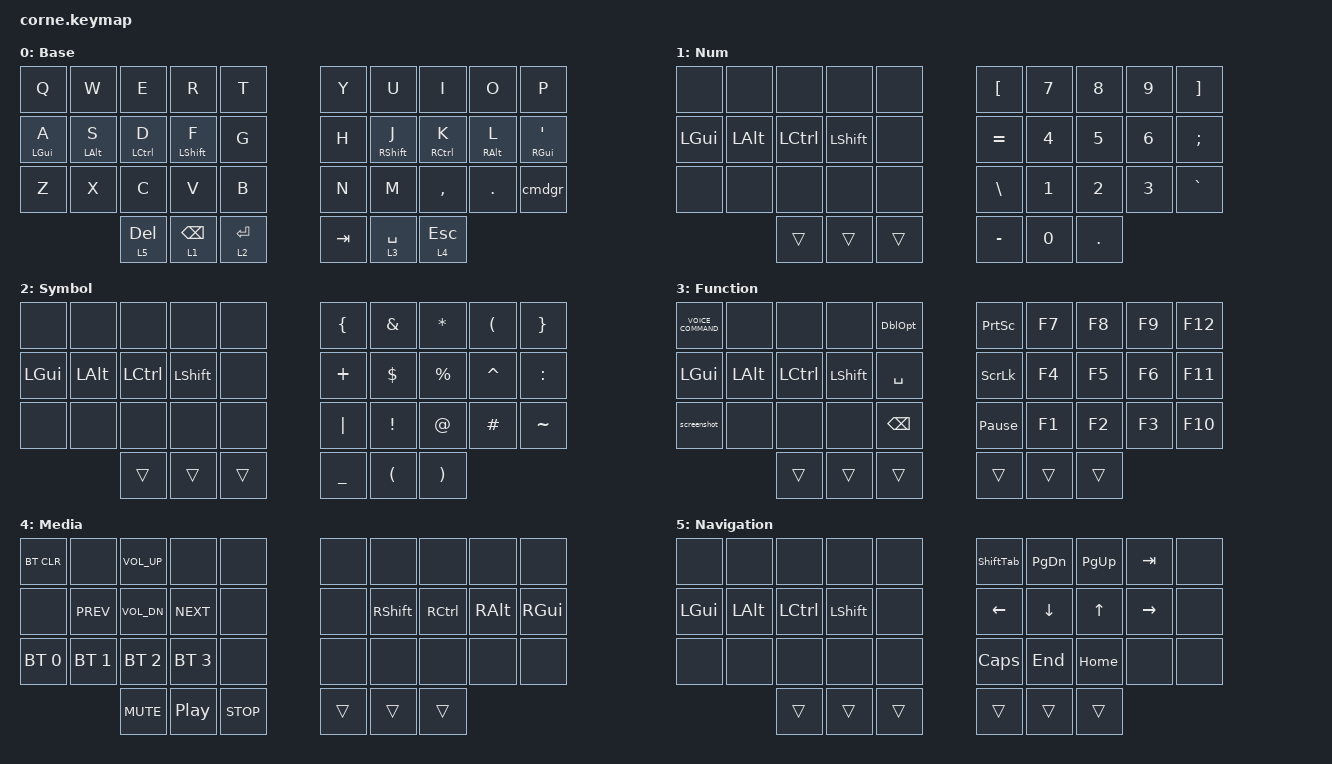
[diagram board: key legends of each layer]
/*
 * Copyright (c) 2020 The ZMK Contributors
 *
 * SPDX-License-Identifier: MIT
 */
#include <behaviors.dtsi>
#include <dt-bindings/zmk/bt.h>
#include <dt-bindings/zmk/keys.h>


&lt {
    tapping-term-ms = <180>;
};

/ {
    chosen { zmk,matrix_transform = &five_column_transform; };

    behaviors {
        LShiftMT: LShiftMT {
            compatible = "zmk,behavior-hold-tap";
            label = "LShiftMT";
            bindings = <&kp>, <&kp>;
            #binding-cells = <2>;
            tapping-term-ms = <175>;
            quick-tap-ms = <175>;
            require-prior-idle-ms = <125>;
            flavor = "balanced";
            hold-trigger-key-positions = <5 15 25 33 34 35 27 26 6 7 8 9 16 17 18 19 29 28 30 31 32>;
            hold-trigger-on-release;
        };

        RShiftMT: RShiftMT {
            compatible = "zmk,behavior-hold-tap";
            label = "RShiftMT";
            bindings = <&kp>, <&kp>;
            #binding-cells = <2>;
            tapping-term-ms = <175>;
            quick-tap-ms = <175>;
            require-prior-idle-ms = <125>;
            flavor = "balanced";
            hold-trigger-key-positions = <0 1 2 3 4 10 11 12 13 14 20 21 22 23 24 30 31 32 33 34 35>;
            hold-trigger-on-release;
        };

        LHRM: LHRM {
            compatible = "zmk,behavior-hold-tap";
            label = "LHRM";
            bindings = <&kp>, <&kp>;
            #binding-cells = <2>;
            tapping-term-ms = <280>;
            quick-tap-ms = <175>;
            require-prior-idle-ms = <150>;
            flavor = "tap-preferred";
            hold-trigger-key-positions = <5 15 25 33 34 35 27 26 6 7 8 9 16 17 18 19 29 28 30 31 32>;
            hold-trigger-on-release;
        };

        RHRM: RHRM {
            compatible = "zmk,behavior-hold-tap";
            label = "RHRM";
            bindings = <&kp>, <&kp>;
            #binding-cells = <2>;
            tapping-term-ms = <280>;
            quick-tap-ms = <175>;
            require-prior-idle-ms = <150>;
            flavor = "tap-preferred";
            hold-trigger-key-positions = <0 1 2 3 4 10 11 12 13 14 20 21 22 23 24 30 31 32 33 34 35>;
            hold-trigger-on-release;
        };

        cmdgr: osx_window_cycle {
            compatible = "zmk,behavior-mod-morph";
            #binding-cells = <0>;
            bindings = <&kp FSLH>, <&kp GRAVE>;
            mods = <(MOD_LGUI)>;
            keep-mods = <(MOD_LGUI)>;
        };

    };

    combos { compatible = "zmk,combos"; };

    macros {
        ShiftTab: ShiftTab {
            compatible = "zmk,behavior-macro";
            #binding-cells = <0>;
            bindings =
                <&macro_press>,
                <&kp LSHFT>,
                <&macro_tap>,
                <&kp TAB>,
                <&macro_release>,
                <&kp LSHFT>;

            label = "SHIFTTAB";
        };

        DblOpt: DblOpt {
            compatible = "zmk,behavior-macro";
            #binding-cells = <0>;
            bindings =
                <&kp LALT>,
                <&kp LALT>;

            label = "DBLOPT";
        };

        screenshot: screenshot {
            compatible = "zmk,behavior-macro";
            #binding-cells = <0>;
            bindings =
                <&macro_press>,
                <&kp LGUI &kp LSHFT>,
                <&macro_tap>,
                <&kp N4>,
                <&macro_release>,
                <&kp LGUI &kp LSHFT>;

            label = "SCREENSHOT";
        };
    };

    keymap {
        compatible = "zmk,keymap";

        Base {
            bindings = <
&kp Q         &kp W         &kp E          &kp R            &kp T          &kp Y    &kp U          &kp I          &kp O         &kp P
&LHRM LGUI A  &LHRM LALT S  &LHRM LCTRL D  &LHRM LSHFT F    &kp G          &kp H    &RShiftMT RSHFT J  &RHRM RCTRL K  &RHRM RALT L  &RHRM RGUI SQT
&kp Z         &kp X         &kp C          &kp V            &kp B          &kp N    &kp M          &kp COMMA      &kp DOT       &cmdgr
                            &lt 5 DELETE   &lt 1 BACKSPACE  &lt 2 ENTER    &kp TAB  &lt 3 SPACE    &lt 4 ESCAPE
            >;
        };

        Num {
            bindings = <
&none     &none     &none      &none      &none     &kp LEFT_BRACKET  &kp N7  &kp N8   &kp N9  &kp RBKT
&kp LGUI  &kp LALT  &kp LCTRL  &kp LSHFT  &none     &kp EQUAL         &kp N4  &kp N5   &kp N6  &kp SEMI
&none     &none     &none      &none      &none     &kp BSLH          &kp N1  &kp N2   &kp N3  &kp GRAVE
                    &trans     &trans     &trans    &kp MINUS         &kp N0  &kp DOT
            >;
        };

        Symbol {
            bindings = <
&none     &none     &none      &none      &none     &kp LEFT_BRACE  &kp AMPERSAND         &kp ASTERISK           &kp LEFT_PARENTHESIS  &kp RIGHT_BRACE
&kp LGUI  &kp LALT  &kp LCTRL  &kp LSHFT  &none     &kp PLUS        &kp DOLLAR            &kp PERCENT            &kp CARET             &kp COLON
&none     &none     &none      &none      &none     &kp PIPE        &kp EXCL              &kp AT_SIGN            &kp HASH              &kp TILDE
                    &trans     &trans     &trans    &kp UNDERSCORE  &kp LEFT_PARENTHESIS  &kp RIGHT_PARENTHESIS
            >;
        };

        Function {
            bindings = <
&kp C_VOICE_COMMAND  &none     &none      &none      &DblOpt     &kp PRINTSCREEN  &kp F7  &kp F8  &kp F9  &kp F12
&kp LGUI  &kp LALT  &kp LCTRL  &kp LSHFT  &kp SPACE &kp SCROLLLOCK   &kp F4  &kp F5  &kp F6  &kp F11
&screenshot &none   &none      &none      &kp BACKSPACE  &kp PAUSE_BREAK  &kp F1  &kp F2  &kp F3  &kp F10
                    &trans     &trans     &trans    &trans           &trans  &trans
            >;
        };

        Media {
            bindings = <
&bt BT_CLR    &none         &kp C_VOLUME_UP  &none             &none         &none   &none      &none      &none     &none
&none         &kp C_PREV    &kp C_VOL_DN     &kp C_NEXT        &none         &none   &kp RSHFT  &kp RCTRL  &kp RALT  &kp RGUI
&bt BT_SEL 0  &bt BT_SEL 1  &bt BT_SEL 2     &bt BT_SEL 3      &none         &none   &none      &none      &none     &none
                            &kp K_MUTE       &kp C_PLAY_PAUSE  &kp C_STOP    &trans  &trans     &trans
            >;
        };

        Navigation {
            bindings = <
&none     &none     &none      &none      &none     &ShiftTab       &kp PAGE_DOWN  &kp PAGE_UP   &kp TAB    &none
&kp LGUI  &kp LALT  &kp LCTRL  &kp LSHFT  &none     &kp LEFT_ARROW  &kp DOWN       &kp UP_ARROW  &kp RIGHT  &none
&none     &none     &none      &none      &none     &kp CAPSLOCK    &kp END        &kp HOME      &none      &none
                    &trans     &trans     &trans    &trans          &trans         &trans
            >;
        };
    };
};
